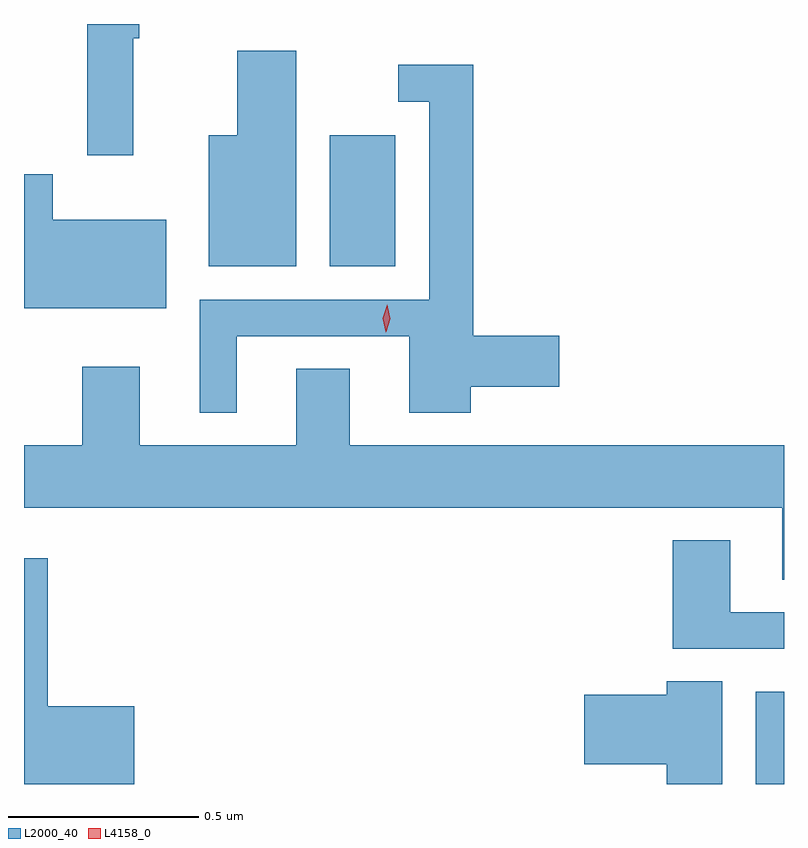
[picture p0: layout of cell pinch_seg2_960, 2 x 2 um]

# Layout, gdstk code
import gdstk
lib = gdstk.Library(unit=1e-6, precision=1e-09)
def R(c, l, rs):  # rectangles x0, y0, x1, y1
    for r in rs: c.add(gdstk.rectangle(r[:2], r[2:], *l))
def P(c, l, *ps):  # polygons
    for p in ps: c.add(gdstk.Polygon(p, *l))
L2000_40 = (2000, 40)
L4158_0 = (4158, 0)

pinch_seg2_960 = lib.new_cell('pinch_seg2_960')
R(pinch_seg2_960, L2000_40, [(324.314,645.577,324.388,645.82), (323.192,646.94,323.365,647.284)])
P(pinch_seg2_960, L2000_40, [(322.676,647.54),(322.691,647.54),(322.691,647.577),(322.555,647.577),(322.555,647.232),(322.676,647.232)],
  [(323.104,647.506),(322.949,647.506),(322.949,647.284),(322.874,647.284),(322.874,646.94),(323.104,646.94)],
  [(322.948,646.755),(323.402,646.755),(323.402,646.554),(323.564,646.554),(323.564,646.622),(323.797,646.622),(323.797,646.757),(323.57,646.757),(323.57,647.47),(323.373,647.47),(323.373,647.373),(323.454,647.373),(323.454,646.851),(322.85,646.851),(322.85,646.554),(322.948,646.554)],
  [(322.762,647.062),(322.464,647.062),(322.464,647.182),(322.388,647.182),(322.388,646.829),(322.762,646.829)],
  [(323.245,646.67),(323.105,646.67),(323.105,646.468),(322.693,646.468),(322.693,646.675),(322.541,646.675),(322.541,646.468),(322.388,646.468),(322.388,646.304),(324.383,646.304),(324.383,646.114),(324.388,646.114),(324.388,646.468),(323.245,646.468)],
  [(324.388,646.029),(324.247,646.029),(324.247,646.219),(324.095,646.219),(324.095,645.933),(324.388,645.933)],
  [(322.678,645.781),(322.451,645.781),(322.451,646.171),(322.388,646.171),(322.388,645.577),(322.678,645.577)],
  [(324.226,645.848),(324.08,645.848),(324.08,645.812),(323.862,645.812),(323.862,645.629),(324.08,645.629),(324.08,645.577),(324.226,645.577)])
P(pinch_seg2_960, L4158_0, [(323.34,646.766),(323.34,646.767),(323.332,646.803),(323.344,646.838),(323.344,646.838),(323.344,646.838),(323.352,646.802),(323.341,646.767)])

lib.write_gds('pinch_seg2_960.gds')
